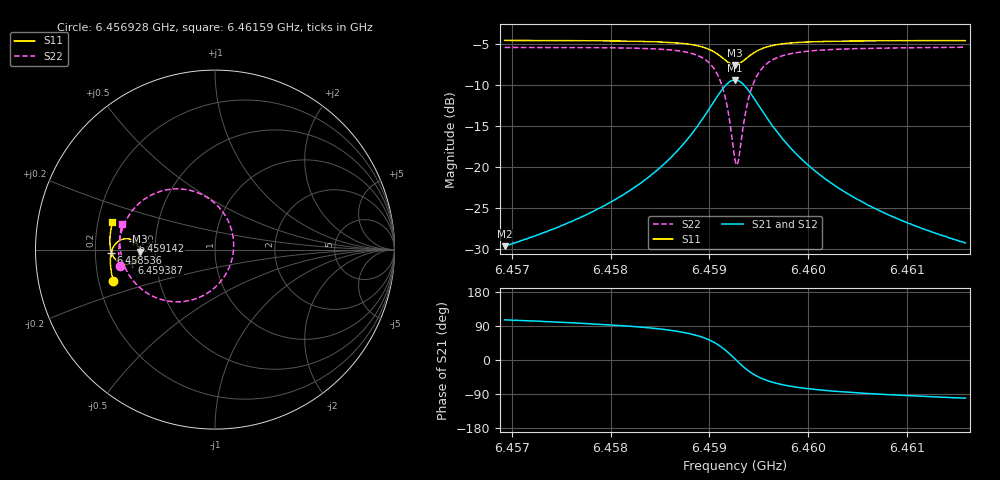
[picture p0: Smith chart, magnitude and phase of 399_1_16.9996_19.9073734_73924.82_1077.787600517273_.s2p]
#  HZ  S  RI  R  50.00
! Rohde & Schwarz Vector Network Analyzer
! Rohde-Schwarz,ZNB20-2Port,1311601062101988,3.16
! Created: UTC 3/20/2024, 11:09:58 PM
! freq[Hz]  re:S11  im:S11  re:S21  im:S21  re:S12  im:S12  re:S22  im:S22
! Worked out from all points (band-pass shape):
!   401 points, 6.456928 GHz to 6.46159 GHz, reference 50 ohm
!   highest |S21| = -9.36 dB at 6.459259 GHz (marker M1); lowest = -29.6 dB at 6.456928 GHz (marker M2)
!   |S21| within 3 dB of the highest: 6.459026 GHz to 6.459492 GHz (466.1 kHz wide, 0.00722 % of centre)
!   lowest |S11| = -7.5 dB at 6.459259 GHz (marker M3), VSWR 2.45, Z = 20.4 - j0.561 ohm
!   |S11| at or under -10 dB: nowhere
!   |S22| runs from -19.7 to -5.4 dB; largest |S21 - S12| = 0.013
!   S11 on the Smith chart (normalised r, x): 6.456928 GHz: 0.26, -0.14; 6.458536 GHz: 0.27, -0.01; 6.459142 GHz: 0.37, +0.05; 6.459387 GHz: 0.36, -0.07; 6.46159 GHz: 0.26, +0.12
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6.4569276e9  -0.5655 -0.1761  -0.00918 0.0318  -0.00736 0.0318  -0.5294 -0.089
6.4577086e9  -0.5802 -0.108  -0.00591 0.0497  -0.00337 0.049  -0.5357 0.00105
6.4581282e9  -0.5833 -0.0663  -0.000427 0.068  0.00283 0.0668  -0.5288 0.0664
6.4584895e9  -0.5799 -0.0237  0.0133 0.0973  0.0173 0.0946  -0.5038 0.1458
6.4585361e9  -0.5784 -0.0174  0.0167 0.1028  0.0207 0.0998  -0.4979 0.1589
6.4587459e9  -0.5664 0.0144  0.0422 0.1341  0.0464 0.1293  -0.45 0.23
6.4588974e9  -0.5456 0.0406  0.0842 0.1641  0.0876 0.1577  -0.3727 0.2941
6.459049e9  -0.5 0.0604  0.175 0.1832  0.1759 0.1761  -0.2073 0.3384
6.4591422e9  -0.4559 0.0507  0.2637 0.1529  0.264 0.147  -0.0428 0.29
6.4591888e9  -0.4351 0.0322  0.3071 0.1107  0.3081 0.1056  0.0391 0.2153
6.4592588e9  -0.4203 -0.0113  0.3401 0.0153  0.3437 0.00864  0.1039 0.0385
6.4592704e9  -0.4208 -0.0191  0.3399 -0.00207  0.3437 -0.00958  0.1038 0.00557
6.4592937e9  -0.4243 -0.0345  0.3346 -0.0364  0.3382 -0.0452  0.0934 -0.059
6.4593403e9  -0.4396 -0.0602  0.3067 -0.0956  0.3089 -0.1071  0.0373 -0.1708
6.459387e9  -0.4612 -0.0762  0.2655 -0.1361  0.2647 -0.1491  -0.0461 -0.2451
6.4594802e9  -0.5041 -0.0828  0.182 -0.1671  0.1761 -0.1784  -0.2118 -0.291
6.4596317e9  -0.5473 -0.0623  0.0954 -0.1537  0.087 -0.1599  -0.3772 -0.2432
6.4597949e9  -0.5686 -0.0347  0.051 -0.1265  0.0435 -0.1293  -0.4567 -0.1725
6.4600397e9  -0.5812 0.000828  0.0222 -0.0956  0.0165 -0.0962  -0.5043 -0.0912
6.460366e9  -0.5856 0.0394  0.00706 -0.0706  0.0029 -0.0702  -0.5251 -0.0171
6.4608206e9  -0.5835 0.0849  -0.0013 -0.0511  -0.00416 -0.0502  -0.5301 0.0552
6.4615899e9  -0.5712 0.1529  -0.00643 -0.034  -0.00806 -0.0331  -0.5186 0.1449
